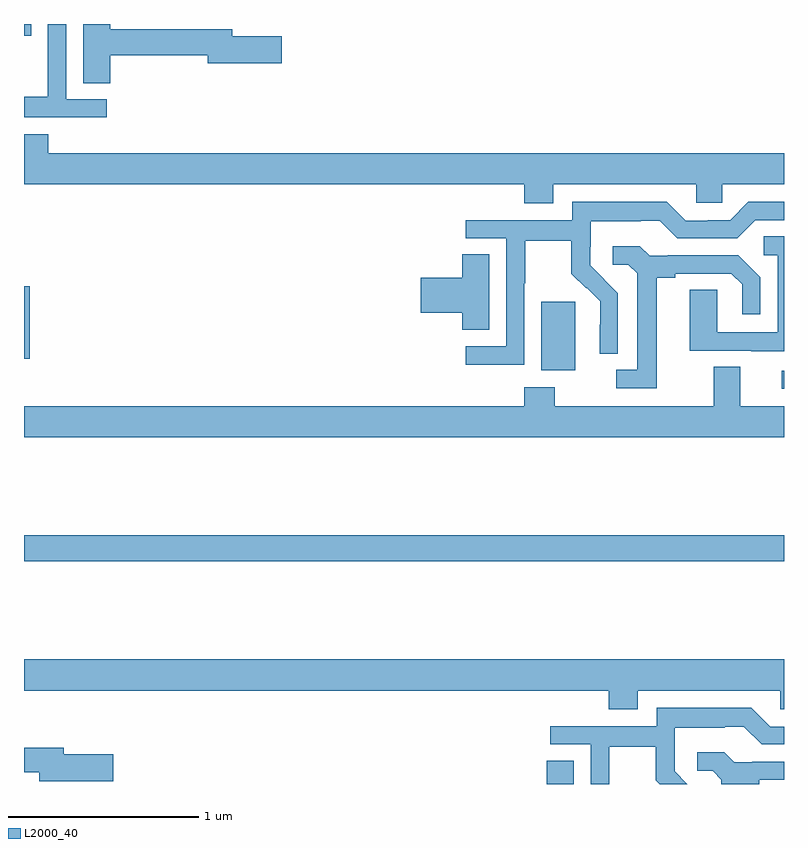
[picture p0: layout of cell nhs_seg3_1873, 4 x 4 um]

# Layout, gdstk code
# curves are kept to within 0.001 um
import gdstk
lib = gdstk.Library(unit=1e-6, precision=1e-09)
def R(c, l, rs):  # rectangles x0, y0, x1, y1
    for r in rs: c.add(gdstk.rectangle(r[:2], r[2:], *l))
def P(c, l, *ps):  # polygons
    for p in ps: c.add(gdstk.Polygon(p, *l))
L2000_40 = (2000, 40)

nhs_seg3_1873 = lib.new_cell('nhs_seg3_1873')
R(nhs_seg3_1873, L2000_40, [(209.75,724.4,209.893,724.523), (207,725.572,211,725.708), (210.987,726.48,211,726.576), (209.723,726.578,209.902,726.939), (207,726.639,207.029,727.02), (207,728.337,207.037,728.4)])
P(nhs_seg3_1873, L2000_40, [(207.436,728.004),(207.222,728.004),(207.222,728.4),(207.126,728.4),(207.126,728.24),(207.124,728.24),(207.124,728.017),(207,728.017),(207,727.908),(207.436,727.908)],
  [(207.455,728.236),(207.968,728.236),(207.968,728.194),(208.357,728.194),(208.357,728.336),(208.096,728.336),(208.096,728.372),(207.455,728.372),(207.455,728.4),(207.311,728.4),(207.311,728.089),(207.455,728.089)],
  [(209.785,727.556),(210.537,727.556),(210.537,727.458),(210.675,727.458),(210.675,727.556),(211,727.556),(211,727.72),(207.128,727.72),(207.128,727.819),(207,727.819),(207,727.556),(209.633,727.556),(209.633,727.457),(209.785,727.457)],
  [(209.634,727.036),(209.637,727.036),(209.637,727.26),(209.881,727.26),(209.881,727.085),(209.958,727.008),(209.961,727.011),(210.032,726.941),(210.032,726.818),(210.03,726.818),(210.03,726.664),(210.126,726.664),(210.126,726.982),(209.98,727.13),(209.98,727.227),(209.982,727.227),(209.982,727.361),(210.245,727.361),(210.245,727.365),(210.345,727.365),(210.438,727.272),(210.753,727.272),(210.849,727.368),(211,727.368),(211,727.464),(210.813,727.464),(210.717,727.368),(210.599,727.368),(210.599,727.365),(210.483,727.365),(210.383,727.465),(209.886,727.465),(209.886,727.368),(209.325,727.368),(209.325,727.272),(209.538,727.272),(209.538,726.705),(209.325,726.705),(209.325,726.607),(209.634,726.607)],
  [(211,727.283),(210.894,727.283),(210.894,727.182),(210.966,727.182),(210.966,726.777),(210.648,726.777),(210.648,727.001),(210.503,727.001),(210.503,726.681),(210.827,726.681),(210.827,726.677),(211,726.677)],
  [(210.331,727.064),(210.427,727.064),(210.427,727.086),(210.722,727.086),(210.779,727.029),(210.779,726.873),(210.876,726.873),(210.876,727.066),(210.76,727.182),(210.388,727.182),(210.388,727.179),(210.294,727.179),(210.242,727.231),(210.099,727.231),(210.099,727.134),(210.18,727.134),(210.227,727.087),(210.227,726.579),(210.117,726.579),(210.117,726.483),(210.331,726.483)],
  [(209.449,727.187),(209.306,727.187),(209.306,727.064),(209.088,727.064),(209.088,726.881),(209.306,726.881),(209.306,726.79),(209.449,726.79)],
  [(211,726.388),(210.769,726.388),(210.769,726.596),(210.629,726.596),(210.629,726.388),(209.793,726.388),(209.793,726.487),(209.633,726.487),(209.633,726.388),(207,726.388),(207,726.224),(211,726.224)],
  [(210.229,724.892),(210.981,724.892),(210.981,724.794),(211,724.794),(211,725.056),(207,725.056),(207,724.892),(210.077,724.892),(210.077,724.793),(210.229,724.793)],
  [(210.081,724.596),(210.325,724.596),(210.325,724.421),(210.346,724.4),(210.49,724.4),(210.424,724.466),(210.424,724.563),(210.426,724.563),(210.426,724.697),(210.689,724.697),(210.689,724.701),(210.789,724.701),(210.882,724.608),(211,724.608),(211,724.701),(210.927,724.701),(210.827,724.801),(210.33,724.801),(210.33,724.704),(209.769,724.704),(209.769,724.608),(209.982,724.608),(209.982,724.4),(210.081,724.4)],
  [(207.469,724.557),(207.208,724.557),(207.208,724.591),(207,724.591),(207,724.462),(207.08,724.462),(207.08,724.415),(207.469,724.415)],
  [(210.871,724.422),(211,724.422),(211,724.518),(210.832,724.518),(210.832,724.515),(210.738,724.515),(210.686,724.567),(210.543,724.567),(210.543,724.47),(210.624,724.47),(210.671,724.423),(210.671,724.4),(210.871,724.4)])

lib.write_gds('nhs_seg3_1873.gds')
